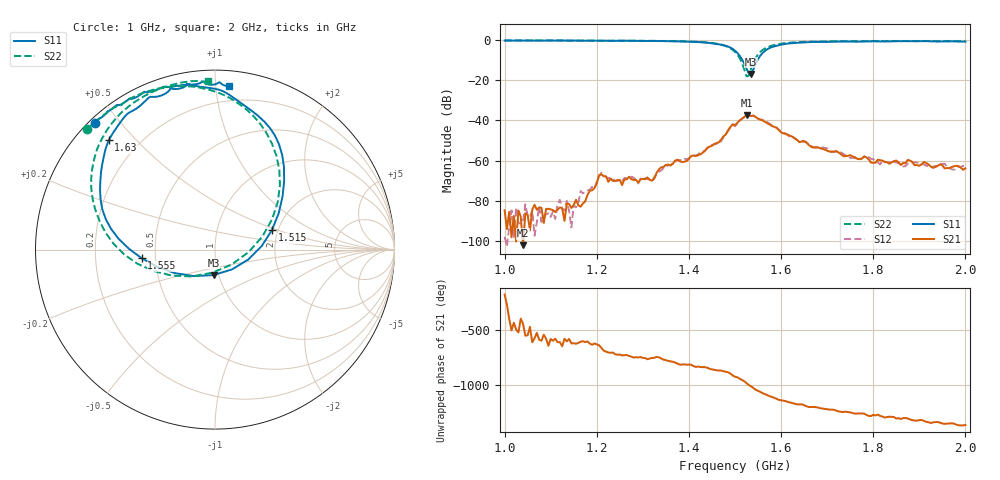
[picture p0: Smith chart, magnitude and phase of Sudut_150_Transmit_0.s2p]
# Hz S RI R 50
! CMT, C1220, 16058040, 17.2.0/1
! Date: 15/08/2018 09:03:53
! Data: Format (Calibration Info)
! Freq  S11: Re/Im (F2)  S21: Re/Im (F2)  S12: Re/Im (F2)  S22: Re/Im (F2)
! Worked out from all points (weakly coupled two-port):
!   201 points, 1 GHz to 2 GHz, reference 50 ohm
!   highest |S21| = -37.41 dB at 1.525 GHz (marker M1); lowest = -102.2 dB at 1.04 GHz (marker M2)
!   lowest |S11| = -16.9 dB at 1.535 GHz (marker M3), VSWR 1.33, Z = 47.2 - j13.7 ohm
!   |S11| at or under -10 dB: 1.516 GHz to 1.549 GHz (32.67 MHz wide, 2.13 % of centre)
!   |S22| runs from -18.1 to -0.2 dB; largest |S21 - S12| = 0.00057
!   S11 on the Smith chart (normalised r, x): 1 GHz: 0.02, +0.43; 1.515 GHz: 1.86, +0.45; 1.555 GHz: 0.42, -0.05; 1.63 GHz: 0.10, +0.42; 2 GHz: 0.10, +1.09
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1e9  -0.6678 0.7049  -5.67e-05 -8.6e-06  -1.23e-05 -2.95e-06  -0.7114 0.6704
1.04e9  -0.6484 0.7264  1.38e-06 -7.64e-06  8.16e-06 2.96e-05  -0.6811 0.6994
1.16e9  -0.5252 0.8081  -1.93e-05 7.39e-05  -1.45e-05 8.45e-05  -0.5704 0.786
1.165e9  -0.5158 0.8128  -3.04e-05 6.41e-05  -0.00012 0.000126  -0.5652 0.7895
1.17e9  -0.5052 0.8192  -4.28e-05 7.38e-05  -4.41e-05 0.000146  -0.5599 0.7923
1.195e9  -0.4735 0.8433  -3.35e-05 0.000203  -2.2e-05 0.000196  -0.5282 0.8049
1.205e9  -0.4712 0.841  5.31e-05 0.000428  5.55e-05 0.000394  -0.5208 0.8048
1.255e9  -0.395 0.8792  0.00024 -4.58e-05  0.000302 -9.4e-07  -0.4648 0.845
1.27e9  -0.3856 0.8769  0.000378 -0.000105  0.000353 -8.69e-05  -0.4426 0.8561
1.32e9  -0.2819 0.9078  0.000265 -0.000171  0.000257 -0.000164  -0.3596 0.886
1.335e9  -0.2655 0.9056  0.000534 -0.000281  0.000426 -0.00032  -0.3278 0.8945
1.45e9  0.1437 0.8172  -0.00172 -0.00157  -0.00185 -0.00152  0.0867 0.8424
1.5e9  0.3854 0.3834  -0.00683 0.00341  -0.0064 0.00326  0.3619 0.3571
1.515e9  0.3167 0.1078  -0.00619 0.00899  -0.00641 0.00891  0.2634 0.0721
1.525e9  0.1857 -0.055  -0.00116 0.0134  -0.0012 0.0135  0.0922 -0.0835
1.535e9  -0.00832 -0.142  0.00538 0.0117  0.00539 0.0117  -0.1294 -0.1497
1.555e9  -0.408 -0.0481  0.01 0.0026  0.0101 0.00305  -0.5063 -0.0266
1.58e9  -0.6279 0.2247  0.00618 -0.00377  0.0063 -0.00418  -0.6782 0.263
1.63e9  -0.5921 0.6085  -0.000313 -0.00352  -0.000201 -0.00353  -0.637 0.6037
1.67e9  -0.4933 0.7514  -0.00117 -0.00175  -0.00122 -0.00181  -0.553 0.7294
1.835e9  -0.1676 0.9085  -0.000688 0.000458  -0.000731 0.000498  -0.2759 0.9066
2e9  0.0795 0.9102  0.000211 0.0006  0.00025 0.00069  -0.041 0.9411
